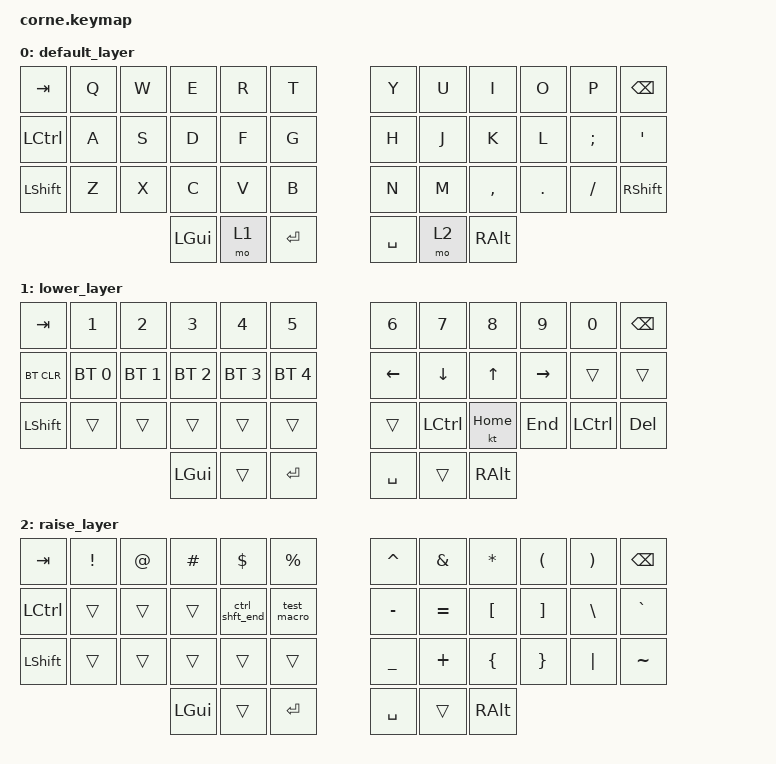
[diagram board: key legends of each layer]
/*
 * Copyright (c) 2020 The ZMK Contributors
 *
 * SPDX-License-Identifier: MIT
 */

#include <behaviors.dtsi>
#include <dt-bindings/zmk/bt.h>
#include <dt-bindings/zmk/keys.h>
#include <dt-bindings/zmk/keys.h>

/ {
    combos {
        compatible = "zmk,combos";

        BottomESC {
            bindings = <&kp ESCAPE>;
            key-positions = <24 35>;
        };
    };

    macros {
        test_macro: test_macro {
            compatible = "zmk,behavior-macro";
            #binding-cells = <0>;
            bindings = <&kp N1 &kp N3 &kp N1 &kp N3 &kp N1 &kp N3 &kp N1 &kp N3>;
            label = "TEST_MACRO";
        };

        ctrl_shft_end: ctrl_shft_end {
            compatible = "zmk,behavior-macro";
            #binding-cells = <0>;
            bindings = <&kp LCTRL &kp LEFT_SHIFT &kp END>;
            label = "CTRL_SHFT_END";
        };
    };

    keymap {
        compatible = "zmk,keymap";

        default_layer {
            // -----------------------------------------------------------------------------------------
            // |  TAB |  Q  |  W  |  E  |  R  |  T  |   |  Y  |  U   |  I  |  O  |  P  | BSPC |
            // | CTRL |  A  |  S  |  D  |  F  |  G  |   |  H  |  J   |  K  |  L  |  ;  |  '   |
            // | SHFT |  Z  |  X  |  C  |  V  |  B  |   |  N  |  M   |  ,  |  .  |  /  | ESC  |
            //                    | GUI | LWR | SPC |   | ENT | RSE  | ALT |

            bindings = <
&kp TAB    &kp Q  &kp W  &kp E     &kp R  &kp T        &kp Y      &kp U  &kp I      &kp O    &kp P     &kp BSPC
&kp LCTRL  &kp A  &kp S  &kp D     &kp F  &kp G        &kp H      &kp J  &kp K      &kp L    &kp SEMI  &kp SQT
&kp LSHFT  &kp Z  &kp X  &kp C     &kp V  &kp B        &kp N      &kp M  &kp COMMA  &kp DOT  &kp FSLH  &kp RIGHT_SHIFT
                         &kp LGUI  &mo 1  &kp ENTER    &kp SPACE  &mo 2  &kp RALT
            >;
        };

        lower_layer {
            // -----------------------------------------------------------------------------------------
            // |  TAB |  1  |  2  |  3  |  4  |  5  |   |  6  |  7  |  8  |  9  |  0  | BSPC |
            // | BTCLR| BT1 | BT2 | BT3 | BT4 | BT5 |   | LFT | DWN |  UP | RGT |     |      |
            // | SHFT |     |     |     |     |     |   |     |     |     |     |     |      |
            //                    | GUI |     | SPC |   | ENT |     | ALT |

            bindings = <
&kp TAB     &kp N1        &kp N2        &kp N3        &kp N4        &kp N5          &kp N6     &kp N7            &kp N8    &kp N9     &kp N0            &kp BSPC
&bt BT_CLR  &bt BT_SEL 0  &bt BT_SEL 1  &bt BT_SEL 2  &bt BT_SEL 3  &bt BT_SEL 4    &kp LEFT   &kp DOWN          &kp UP    &kp RIGHT  &trans            &trans
&kp LSHFT   &trans        &trans        &trans        &trans        &trans          &trans     &kp LEFT_CONTROL  &kt HOME  &kp END    &kp LEFT_CONTROL  &kp DEL
                                        &kp LGUI      &trans        &kp RET         &kp SPACE  &trans            &kp RALT
            >;
        };

        raise_layer {
            // -----------------------------------------------------------------------------------------
            // |  TAB |  !  |  @  |  #  |  $  |  %  |   |  ^  |  &  |  *  |  (  |  )  | BSPC |
            // | CTRL |     |     |     |     |     |   |  -  |  =  |  [  |  ]  |  \  |  `   |
            // | SHFT |     |     |     |     |     |   |  _  |  +  |  {  |  }  | "|" |  ~   |
            //                    | GUI |     | SPC |   | ENT |     | ALT |

            bindings = <
&kp TAB    &kp EXCL  &kp AT  &kp HASH  &kp DLLR        &kp PRCNT      &kp CARET  &kp AMPS   &kp ASTRK  &kp LPAR  &kp RPAR  &kp BSPC
&kp LCTRL  &trans    &trans  &trans    &ctrl_shft_end  &test_macro    &kp MINUS  &kp EQUAL  &kp LBKT   &kp RBKT  &kp BSLH  &kp GRAVE
&kp LSHFT  &trans    &trans  &trans    &trans          &trans         &kp UNDER  &kp PLUS   &kp LBRC   &kp RBRC  &kp PIPE  &kp TILDE
                             &kp LGUI  &trans          &kp RET        &kp SPACE  &trans     &kp RALT
            >;
        };
    };
};
